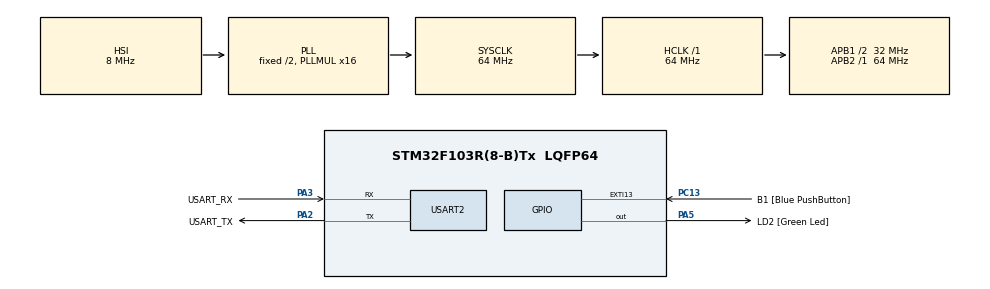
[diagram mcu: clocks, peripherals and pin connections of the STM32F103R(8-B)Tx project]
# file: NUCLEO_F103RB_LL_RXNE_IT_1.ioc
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Mcu.Family=STM32F1
Mcu.Name=STM32F103R(8-B)Tx
Mcu.Package=LQFP64
NVIC.EXTI15_10_IRQn=true\:0\:0\:false\:true\:true\:2\:true\:true
NVIC.PriorityGroup=NVIC_PRIORITYGROUP_4
NVIC.USART2_IRQn=true\:0\:0\:false\:true\:true\:1\:true\:true
PA13.GPIO_Label=TMS
PA13.Mode=Serial_Wire
PA13.Signal=SYS_JTMS-SWDIO
PA14.GPIO_Label=TCK
PA14.Mode=Serial_Wire
PA14.Signal=SYS_JTCK-SWCLK
PA2.GPIO_Label=USART_TX
PA2.GPIO_Mode=GPIO_MODE_AF_PP
PA2.GPIO_PuPd=GPIO_NOPULL
PA2.GPIO_Speed=GPIO_SPEED_FREQ_LOW
PA2.Mode=Asynchronous
PA2.Signal=USART2_TX
PA3.GPIO_Label=USART_RX
PA3.GPIO_Mode=GPIO_MODE_AF_PP
PA3.GPIO_PuPd=GPIO_NOPULL
PA3.GPIO_Speed=GPIO_SPEED_FREQ_LOW
PA3.Mode=Asynchronous
PA3.Signal=USART2_RX
PA5.GPIO_Label=LD2 [Green Led]
PA5.GPIO_ModeDefaultOutputPP=GPIO_MODE_OUTPUT_PP
PA5.GPIO_PuPd=GPIO_NOPULL
PA5.GPIO_Speed=GPIO_SPEED_FREQ_LOW
PA5.Signal=GPIO_Output
PB3.GPIO_Label=SWO
PB3.Signal=SYS_JTDO-TRACESWO
PC13-TAMPER-RTC.GPIO_Label=B1 [Blue PushButton]
PC13-TAMPER-RTC.GPIO_PuPd=GPIO_NOPULL
PC13-TAMPER-RTC.Signal=GPXTI13
PC14-OSC32_IN.Mode=LSE-External-Oscillator
PC14-OSC32_IN.Signal=RCC_OSC32_IN
PC15-OSC32_OUT.Mode=LSE-External-Oscillator
PC15-OSC32_OUT.Signal=RCC_OSC32_OUT
PD0-OSC_IN.Mode=HSE-External-Clock-Source
PD0-OSC_IN.Signal=RCC_OSC_IN
PD1-OSC_OUT.Mode=HSE-External-Clock-Source
PD1-OSC_OUT.Signal=RCC_OSC_OUT
ProjectManager.HeapSize=0x200
ProjectManager.StackSize=0x400
ProjectManager.TargetToolchain=TrueSTUDIO
RCC.AHBFreq_Value=64000000
RCC.APB1CLKDivider=RCC_HCLK_DIV2
RCC.APB1Freq_Value=32000000
RCC.APB1TimFreq_Value=64000000
RCC.APB2Freq_Value=64000000
RCC.APB2TimFreq_Value=64000000
RCC.HCLKFreq_Value=64000000
RCC.PLLMUL=RCC_PLL_MUL16
RCC.RTCClockSelection=RCC_RTCCLKSOURCE_LSE
RCC.SYSCLKFreq_VALUE=64000000
RCC.SYSCLKSource=RCC_SYSCLKSOURCE_PLLCLK
RCC.USBFreq_Value=64000000
USART2.VirtualMode=VM_ASYNC
board=NUCLEO-F103RB

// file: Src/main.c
/* USER CODE BEGIN Header */
/**
  ******************************************************************************
  * @file           : main.c
  * @brief          : Main program body
  ******************************************************************************
  * @attention
  *
  * <h2><center>&copy; Copyright (c) 2020 STMicroelectronics.
  * All rights reserved.</center></h2>
  *
  * This software component is licensed by ST under BSD 3-Clause license,
  * the "License"; You may not use this file except in compliance with the
  * License. You may obtain a copy of the License at:
  *                        opensource.org/licenses/BSD-3-Clause
  *
  ******************************************************************************
  */
/* USER CODE END Header */

#include "main.h"
#include "usart.h"
#include "gpio.h"

/* USER CODE BEGIN Includes */
#include <stdio.h>
#include <string.h>
/* USER CODE END Includes */

void SystemClock_Config(void);
static void MX_NVIC_Init(void);
/* USER CODE BEGIN PFP */
#if 1
int _write(int file, char *ptr, int len)
{
	int DataIdx;

	for (DataIdx = 0; DataIdx < len; DataIdx++)
	{
		//__io_putchar(*ptr++);
		while(!LL_USART_IsActiveFlag_TXE(USART2))
		{

		}
		LL_USART_TransmitData8(USART2, *ptr++);
	}
	return len;
}
#endif

#if 0
#ifdef __GNUC__
/* With GCC, small printf (option LD Linker->Libraries->Small printf
   set to 'Yes') calls __io_putchar() */
#define PUTCHAR_PROTOTYPE int __io_putchar(int ch)
#else
#define PUTCHAR_PROTOTYPE int fputc(int ch, FILE *f)
#endif /* __GNUC__ */
#endif /* 1 or 0 */
/* USER CODE END PFP */

int main(void)
{
  /* USER CODE BEGIN 1 */
	uint8_t i=0;
  /* USER CODE END 1 */

  /* MCU Configuration--------------------------------------------------------*/

  /* Reset of all peripherals, Initializes the Flash interface and the Systick. */
  HAL_Init();

  /* Configure the system clock */
  SystemClock_Config();

  /* Initialize all configured peripherals */
  MX_GPIO_Init();
  MX_USART2_UART_Init();

  /* Initialize interrupts */
  MX_NVIC_Init();
  /* USER CODE BEGIN 2 */
  LL_USART_EnableIT_RXNE(USART2);
  /* USER CODE END 2 */

  /* Infinite loop */
  while (1)
  {

    /* USER CODE BEGIN 3 */
  	printf("Hello Nucleo LL Drive Application : %2d \r\n", i++);
  	HAL_Delay(500);
  }
  /* USER CODE END 3 */
}

void SystemClock_Config(void)
{
  RCC_OscInitTypeDef RCC_OscInitStruct = {0};
  RCC_ClkInitTypeDef RCC_ClkInitStruct = {0};

  /** Initializes the CPU, AHB and APB busses clocks
  */
  RCC_OscInitStruct.OscillatorType = RCC_OSCILLATORTYPE_HSI;
  RCC_OscInitStruct.HSIState = RCC_HSI_ON;
  RCC_OscInitStruct.HSICalibrationValue = RCC_HSICALIBRATION_DEFAULT;
  RCC_OscInitStruct.PLL.PLLState = RCC_PLL_ON;
  RCC_OscInitStruct.PLL.PLLSource = RCC_PLLSOURCE_HSI_DIV2;
  RCC_OscInitStruct.PLL.PLLMUL = RCC_PLL_MUL16;
  if (HAL_RCC_OscConfig(&RCC_OscInitStruct) != HAL_OK)
  {
    Error_Handler();
  }
  /** Initializes the CPU, AHB and APB busses clocks
  */
  RCC_ClkInitStruct.ClockType = RCC_CLOCKTYPE_HCLK|RCC_CLOCKTYPE_SYSCLK
                              |RCC_CLOCKTYPE_PCLK1|RCC_CLOCKTYPE_PCLK2;
  RCC_ClkInitStruct.SYSCLKSource = RCC_SYSCLKSOURCE_PLLCLK;
  RCC_ClkInitStruct.AHBCLKDivider = RCC_SYSCLK_DIV1;
  RCC_ClkInitStruct.APB1CLKDivider = RCC_HCLK_DIV2;
  RCC_ClkInitStruct.APB2CLKDivider = RCC_HCLK_DIV1;

  if (HAL_RCC_ClockConfig(&RCC_ClkInitStruct, FLASH_LATENCY_2) != HAL_OK)
  {
    Error_Handler();
  }
}

/**
  * @brief NVIC Configuration.
  * @retval None
  */
static void MX_NVIC_Init(void)
{
  /* USART2_IRQn interrupt configuration */
  NVIC_SetPriority(USART2_IRQn, NVIC_EncodePriority(NVIC_GetPriorityGrouping(),0, 0));
  NVIC_EnableIRQ(USART2_IRQn);
  /* EXTI15_10_IRQn interrupt configuration */
  HAL_NVIC_SetPriority(EXTI15_10_IRQn, 0, 0);
  HAL_NVIC_EnableIRQ(EXTI15_10_IRQn);
}

/* USER CODE BEGIN 4 */
#if 0
/**
  * @brief  Retargets the C library printf function to the USART.
  * @param  None
  * @retval None
  */
PUTCHAR_PROTOTYPE
{
  /* Place your implementation of fputc here */
  /* e.g. write a character to the USART2 and Loop until the end of transmission */
  //HAL_UART_Transmit(&UartHandle, (uint8_t *)&ch, 1, 0xFFFF);
	LL_USART_TransmitData8(USART2, ch);
  return ch;
}
#endif

void UserButton_Callback(void)
{

}

void USART_CharReception_Callback(void)
{
	__IO uint32_t received_char;

	/* Read Received character. RXNE flag is cleared by reading of DR register */
	received_char = LL_USART_ReceiveData8(USART2);

	/* Check if received value is corresponding to specific one : S or s */
	if ((received_char == 'S') || (received_char == 's'))
	{
		/* Turn LED2 On : Expected character has been received */
		//LED_On();
		HAL_GPIO_TogglePin(LD2_GPIO_Port, LD2_Pin);
	}

	/* Echo received character on TX */
	LL_USART_TransmitData8(USART2, received_char);
	printf("\r\n");
}

void Error_Callback(void)
{

}

/* USER CODE END 4 */

void Error_Handler(void)
{
}

/************************ (C) COPYRIGHT STMicroelectronics *****END OF FILE****/
